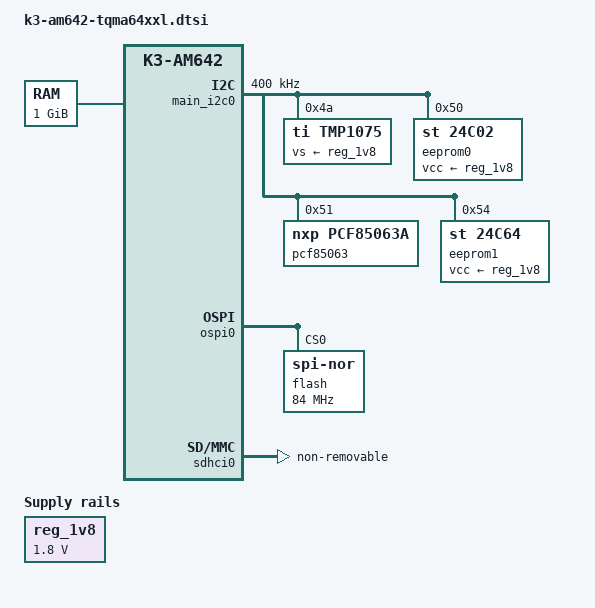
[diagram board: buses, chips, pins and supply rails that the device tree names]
// SPDX-License-Identifier: GPL-2.0-only
/*
 * Copyright (C) 2021 Texas Instruments Incorporated - https://www.ti.com/
 * Copyright (c) 2022-2023 TQ-Systems GmbH <linux@ew.tq-group.com>, D-82229 Seefeld, Germany.
 */

#include "k3-am642.dtsi"

/ {
	aliases {
		i2c0 = &main_i2c0;
		mmc0 = &sdhci0;
		spi0 = &ospi0;
	};

	memory@80000000 {
		device_type = "memory";
		/* 1G RAM - default variant */
		reg = <0x00000000 0x80000000 0x00000000 0x40000000>;

	};

	reserved-memory {
		#address-cells = <2>;
		#size-cells = <2>;
		ranges;

		secure_ddr: optee@9e800000 {
			reg = <0x00 0x9e800000 0x00 0x01800000>;
			alignment = <0x1000>;
			no-map;
		};

		main_r5fss0_core0_dma_memory_region: r5f-dma-memory@a0000000 {
			compatible = "shared-dma-pool";
			reg = <0x00 0xa0000000 0x00 0x100000>;
			no-map;
		};

		main_r5fss0_core0_memory_region: r5f-memory@a0100000 {
			compatible = "shared-dma-pool";
			reg = <0x00 0xa0100000 0x00 0xf00000>;
			no-map;
		};

		main_r5fss0_core1_dma_memory_region: r5f-dma-memory@a1000000 {
			compatible = "shared-dma-pool";
			reg = <0x00 0xa1000000 0x00 0x100000>;
			no-map;
		};

		main_r5fss0_core1_memory_region: r5f-memory@a1100000 {
			compatible = "shared-dma-pool";
			reg = <0x00 0xa1100000 0x00 0xf00000>;
			no-map;
		};

		main_r5fss1_core0_dma_memory_region: r5f-dma-memory@a2000000 {
			compatible = "shared-dma-pool";
			reg = <0x00 0xa2000000 0x00 0x100000>;
			no-map;
		};

		main_r5fss1_core0_memory_region: r5f-memory@a2100000 {
			compatible = "shared-dma-pool";
			reg = <0x00 0xa2100000 0x00 0xf00000>;
			no-map;
		};

		main_r5fss1_core1_dma_memory_region: r5f-dma-memory@a3000000 {
			compatible = "shared-dma-pool";
			reg = <0x00 0xa3000000 0x00 0x100000>;
			no-map;
		};

		main_r5fss1_core1_memory_region: r5f-memory@a3100000 {
			compatible = "shared-dma-pool";
			reg = <0x00 0xa3100000 0x00 0xf00000>;
			no-map;
		};

		rtos_ipc_memory_region: ipc-memories@a5000000 {
			reg = <0x00 0xa5000000 0x00 0x00800000>;
			alignment = <0x1000>;
			no-map;
		};
	};

	reg_1v8: regulator-1v8 {
		compatible = "regulator-fixed";
		regulator-name = "V_1V8";
		regulator-min-microvolt = <1800000>;
		regulator-max-microvolt = <1800000>;
		regulator-always-on;
		regulator-boot-on;
	};
};

&main_i2c0 {
	pinctrl-names = "default";
	pinctrl-0 = <&main_i2c0_pins>;
	clock-frequency = <400000>;
	status = "okay";

	tmp1075: temperature-sensor@4a {
		compatible = "ti,tmp1075";
		reg = <0x4a>;
		vs-supply = <&reg_1v8>;
	};

	eeprom0: eeprom@50 {
		compatible = "st,24c02", "atmel,24c02";
		reg = <0x50>;
		vcc-supply = <&reg_1v8>;
		pagesize = <16>;
		read-only;
	};

	pcf85063: rtc@51 {
		compatible = "nxp,pcf85063a";
		reg = <0x51>;
		quartz-load-femtofarads = <12500>;
	};

	eeprom1: eeprom@54 {
		compatible = "st,24c64", "atmel,24c64";
		reg = <0x54>;
		vcc-supply = <&reg_1v8>;
		pagesize = <32>;
	};
};

&mailbox0_cluster2 {
	status = "okay";

	mbox_main_r5fss0_core0: mbox-main-r5fss0-core0 {
		ti,mbox-rx = <0 0 2>;
		ti,mbox-tx = <1 0 2>;
	};

	mbox_main_r5fss0_core1: mbox-main-r5fss0-core1 {
		ti,mbox-rx = <2 0 2>;
		ti,mbox-tx = <3 0 2>;
	};
};

&mailbox0_cluster4 {
	status = "okay";

	mbox_main_r5fss1_core0: mbox-main-r5fss1-core0 {
		ti,mbox-rx = <0 0 2>;
		ti,mbox-tx = <1 0 2>;
	};

	mbox_main_r5fss1_core1: mbox-main-r5fss1-core1 {
		ti,mbox-rx = <2 0 2>;
		ti,mbox-tx = <3 0 2>;
	};
};

&mailbox0_cluster6 {
	status = "okay";

	mbox_m4_0: mbox-m4-0 {
		ti,mbox-rx = <0 0 2>;
		ti,mbox-tx = <1 0 2>;
	};
};

&main_r5fss0_core0 {
	mboxes = <&mailbox0_cluster2 &mbox_main_r5fss0_core0>;
	memory-region = <&main_r5fss0_core0_dma_memory_region>,
			<&main_r5fss0_core0_memory_region>;
};

&main_r5fss0_core1 {
	mboxes = <&mailbox0_cluster2 &mbox_main_r5fss0_core1>;
	memory-region = <&main_r5fss0_core1_dma_memory_region>,
			<&main_r5fss0_core1_memory_region>;
};

&main_r5fss1_core0 {
	mboxes = <&mailbox0_cluster4 &mbox_main_r5fss1_core0>;
	memory-region = <&main_r5fss1_core0_dma_memory_region>,
			<&main_r5fss1_core0_memory_region>;
};

&main_r5fss1_core1 {
	mboxes = <&mailbox0_cluster4 &mbox_main_r5fss1_core1>;
	memory-region = <&main_r5fss1_core1_dma_memory_region>,
			<&main_r5fss1_core1_memory_region>;
};

&ospi0 {
	status = "okay";
	pinctrl-names = "default";
	pinctrl-0 = <&ospi0_pins>;

	flash@0 {
		compatible = "jedec,spi-nor";
		reg = <0>;
		spi-tx-bus-width = <8>;
		spi-rx-bus-width = <8>;
		spi-max-frequency = <84000000>;
		cdns,tshsl-ns = <60>;
		cdns,tsd2d-ns = <60>;
		cdns,tchsh-ns = <60>;
		cdns,tslch-ns = <60>;
		cdns,read-delay = <2>;

		partitions {
			compatible = "fixed-partitions";
			#address-cells = <1>;
			#size-cells = <1>;

			/* Filled by bootloader */
		};
	};
};

&sdhci0 {
	status = "okay";
	non-removable;
	disable-wp;
	no-sdio;
	no-sd;
	ti,driver-strength-ohm = <50>;
};

&main_pmx0 {
	main_i2c0_pins: main-i2c0-pins {
		pinctrl-single,pins = <
			/* (A18) I2C0_SCL */
			AM64X_IOPAD(0x0260, PIN_INPUT_PULLUP, 0)
			/* (B18) I2C0_SDA */
			AM64X_IOPAD(0x0264, PIN_INPUT_PULLUP, 0)
		>;
	};

	ospi0_pins: ospi0-pins {
		pinctrl-single,pins = <
			/* (N20) OSPI0_CLK */
			AM64X_IOPAD(0x0000, PIN_OUTPUT, 0)
			/* (L19) OSPI0_CSn0 */
			AM64X_IOPAD(0x002c, PIN_OUTPUT, 0)
			/* (M19) OSPI0_D0 */
			AM64X_IOPAD(0x000c, PIN_INPUT, 0)
			/* (M18) OSPI0_D1 */
			AM64X_IOPAD(0x0010, PIN_INPUT, 0)
			/* (M20) OSPI0_D2 */
			AM64X_IOPAD(0x0014, PIN_INPUT, 0)
			/* (M21) OSPI0_D3 */
			AM64X_IOPAD(0x0018, PIN_INPUT, 0)
			/* (P21) OSPI0_D4 */
			AM64X_IOPAD(0x001c, PIN_INPUT, 0)
			/* (P20) OSPI0_D5 */
			AM64X_IOPAD(0x0020, PIN_INPUT, 0)
			/* (N18) OSPI0_D6 */
			AM64X_IOPAD(0x0024, PIN_INPUT, 0)
			/* (M17) OSPI0_D7 */
			AM64X_IOPAD(0x0028, PIN_INPUT, 0)
			/* (N19) OSPI0_DQS */
			AM64X_IOPAD(0x0008, PIN_INPUT, 0)
		>;
	};
};
